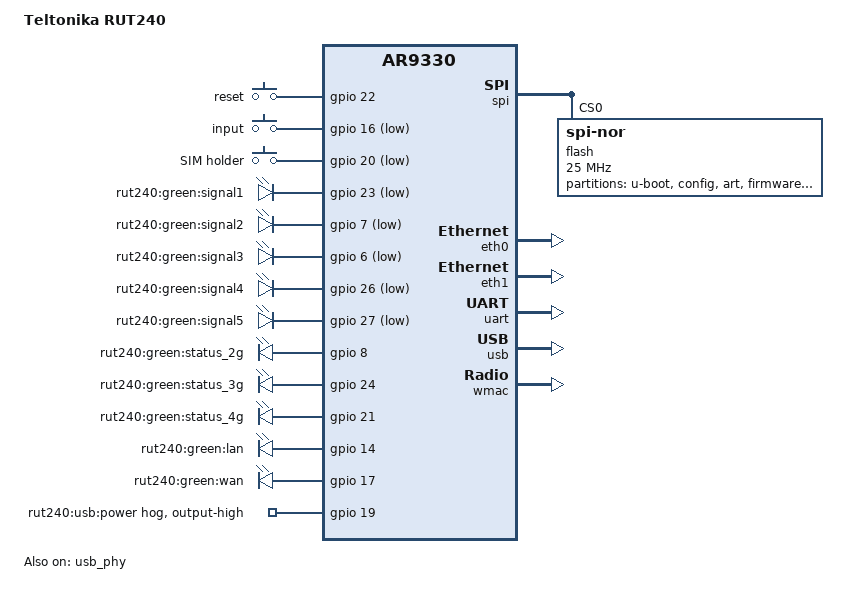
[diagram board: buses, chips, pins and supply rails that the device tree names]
// SPDX-License-Identifier: GPL-2.0-or-later OR MIT
/dts-v1/;

#include <dt-bindings/gpio/gpio.h>
#include <dt-bindings/input/input.h>

#include "ar9330.dtsi"

/ {
	compatible = "teltonika,rut240", "qca,ar9330";
	model = "Teltonika RUT240";

	chosen {
		bootargs = "console=ttyATH0,115200 root=31:05 rootfstype=squashfs";
	};


	aliases {
		serial0 = &uart;
		led-boot = &signal3;
		led-failsafe = &signal3;
		led-upgrade = &signal3;
	};

	keys {
		compatible = "gpio-keys";

		reset {
			label = "reset";
			linux,code = <KEY_RESTART>;
			gpios = <&gpio 22 GPIO_ACTIVE_HIGH>;
			debounce-interval = <60>;
		};

		input {
			label = "input";
			linux,code = <BTN_0>;
			gpios = <&gpio 16 GPIO_ACTIVE_LOW>;
			debounce-interval = <60>;
		};

		sim {
			label = "SIM holder";
			linux,code = <KEY_RFKILL>;
			gpios = <&gpio 20 GPIO_ACTIVE_LOW>;
			debounce-interval = <60>;
		};
	};

	leds {
		compatible = "gpio-leds";

		signal1 {
			label = "rut240:green:signal1";
			gpios = <&gpio 23 GPIO_ACTIVE_LOW>;
		};

		signal2 {
			label = "rut240:green:signal2";
			gpios = <&gpio 7 GPIO_ACTIVE_LOW>;
		};

		signal3: signal3 {
			label = "rut240:green:signal3";
			gpios = <&gpio 6 GPIO_ACTIVE_LOW>;
		};

		signal4 {
			label = "rut240:green:signal4";
			gpios = <&gpio 26 GPIO_ACTIVE_LOW>;
		};

		signal5 {
			label = "rut240:green:signal5";
			gpios = <&gpio 27 GPIO_ACTIVE_LOW>;
		};

		status_2g {
			label = "rut240:green:status_2g";
			gpios = <&gpio 8 GPIO_ACTIVE_HIGH>;
		};

		status_3g {
			label = "rut240:green:status_3g";
			gpios = <&gpio 24 GPIO_ACTIVE_HIGH>;
		};

		status_4g {
			label = "rut240:green:status_4g";
			gpios = <&gpio 21 GPIO_ACTIVE_HIGH>;
		};

		lan {
			label = "rut240:green:lan";
			gpios = <&gpio 14 GPIO_ACTIVE_HIGH>;
		};

		wan {
			label = "rut240:green:wan";
			gpios = <&gpio 17 GPIO_ACTIVE_HIGH>;
		};
	};
};

&spi {
	status = "okay";
	num-cs = <1>;

	flash@0 {
		compatible = "jedec,spi-nor";
		reg = <0>;
		spi-max-frequency = <25000000>;

		partitions {
			compatible = "fixed-partitions";
			#address-cells = <1>;
			#size-cells = <1>;

			uboot: partition@0 {
				reg = <0x0 0x20000>;
				label = "u-boot";
				read-only;
			};

			config: partition@20000 {
				reg = <0x20000 0x10000>;
				label = "config";
				read-only;
			};

			art: partition@30000 {
				reg = <0x30000 0x10000>;
				label = "art";
				read-only;
			};

			firmware: partition@40000 {
				compatible = "tplink,firmware";
				reg = <0x40000 0xf30000>;
				label = "firmware";
			};

			event_log: partition@f70000 {
				reg = <0xf70000 0x90000>;
				label = "event-log";
				read-only;
			};
		};
	};
};

&eth0 {
	status = "okay";

	mtd-mac-address = <&config 0x0>;

	gmac-config {
		device = <&gmac>;

		switch-phy-addr-swap = <0>;
		switch-phy-swap = <0>;
	};
};

&eth1 {
	status = "okay";

	mtd-mac-address = <&config 0x0>;
	mtd-mac-address-increment = <1>;
};

&gpio {
	status = "okay";

	gpio_usb_power {
		gpio-hog;
		gpios = <19 GPIO_ACTIVE_HIGH>;
		output-high;
		line-name = "rut240:usb:power";
	};
};

&uart {
	status = "okay";
};

&usb {
	status = "okay";
};

&usb_phy {
	status = "okay";
};

&wmac {
	status = "okay";
	mtd-cal-data = <&art 0x1000>;
	mtd-mac-address = <&config 0x0>;
	mtd-mac-address-increment = <2>;
};
